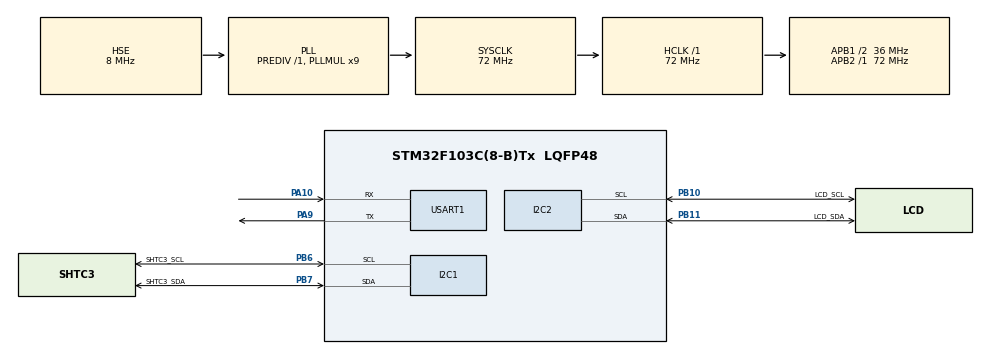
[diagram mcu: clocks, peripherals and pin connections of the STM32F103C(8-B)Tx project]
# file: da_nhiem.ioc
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FREERTOS.BinarySemaphores01=bin_sem,Dynamic,NULL,Available
FREERTOS.Tasks01=measure,8,128,measure_task,Default,NULL,Dynamic,NULL,NULL;write_clcd,8,256,write_clcd_task,Default,NULL,Dynamic,NULL,NULL;send_uart,8,256,send_uart_task,Default,NULL,Dynamic,NULL,NULL
Mcu.Family=STM32F1
Mcu.Name=STM32F103C(8-B)Tx
Mcu.Package=LQFP48
NVIC.PriorityGroup=NVIC_PRIORITYGROUP_4
NVIC.TIM1_UP_IRQn=true\:15\:0\:false\:false\:true\:false\:false\:true\:true
NVIC.TimeBase=TIM1_UP_IRQn
NVIC.TimeBaseIP=TIM1
NVIC.USART1_IRQn=true\:5\:0\:false\:false\:true\:true\:true\:true\:true
PA10.Mode=Asynchronous
PA10.Signal=USART1_RX
PA13.Mode=Serial_Wire
PA13.Signal=SYS_JTMS-SWDIO
PA14.Mode=Serial_Wire
PA14.Signal=SYS_JTCK-SWCLK
PA9.Mode=Asynchronous
PA9.Signal=USART1_TX
PB10.GPIO_Label=LCD_SCL
PB10.Mode=I2C
PB10.Signal=I2C2_SCL
PB11.GPIO_Label=LCD_SDA
PB11.Mode=I2C
PB11.Signal=I2C2_SDA
PB6.GPIO_Label=SHTC3_SCL
PB6.Mode=I2C
PB6.Signal=I2C1_SCL
PB7.GPIO_Label=SHTC3_SDA
PB7.Mode=I2C
PB7.Signal=I2C1_SDA
PD0-OSC_IN.Mode=HSE-External-Oscillator
PD0-OSC_IN.Signal=RCC_OSC_IN
PD1-OSC_OUT.Mode=HSE-External-Oscillator
PD1-OSC_OUT.Signal=RCC_OSC_OUT
ProjectManager.HeapSize=0x200
ProjectManager.StackSize=0x400
ProjectManager.TargetToolchain=STM32CubeIDE
RCC.AHBFreq_Value=72000000
RCC.APB1CLKDivider=RCC_HCLK_DIV2
RCC.APB1Freq_Value=36000000
RCC.APB1TimFreq_Value=72000000
RCC.APB2Freq_Value=72000000
RCC.APB2TimFreq_Value=72000000
RCC.HCLKFreq_Value=72000000
RCC.PLLMUL=RCC_PLL_MUL9
RCC.PLLSourceVirtual=RCC_PLLSOURCE_HSE
RCC.SYSCLKFreq_VALUE=72000000
RCC.SYSCLKSource=RCC_SYSCLKSOURCE_PLLCLK
RCC.USBFreq_Value=72000000
USART1.VirtualMode=VM_ASYNC
VP_FREERTOS_VS_CMSIS_V2.Mode=CMSIS_V2
VP_SYS_VS_tim1.Mode=TIM1
board=custom

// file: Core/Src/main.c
/* USER CODE BEGIN Header */
/**
  ******************************************************************************
  * @file           : main.c
  * @brief          : Main program body
  ******************************************************************************
  * @attention
  *
  * Copyright (c) 2025 STMicroelectronics.
  * All rights reserved.
  *
  * This software is licensed under terms that can be found in the LICENSE file
  * in the root directory of this software component.
  * If no LICENSE file comes with this software, it is provided AS-IS.
  *
  ******************************************************************************
  */
/* USER CODE END Header */
#include "main.h"//round robin
#include "cmsis_os.h"

/* USER CODE BEGIN Includes */
#include "string.h"
#include "stdio.h"
#include "CLCD_I2C.h"
/* USER CODE END Includes */

/* USER CODE BEGIN PTD */
typedef enum
{
	DISPLAY_TEMP,
	DISPLAY_HUMID,
	DISPLAY_ALL
} DisplayMode_t;
/* USER CODE END PTD */

/* USER CODE BEGIN PD */
volatile DisplayMode_t DisplayMode = DISPLAY_ALL;
/* USER CODE END PD */

I2C_HandleTypeDef hi2c1;
I2C_HandleTypeDef hi2c2;

UART_HandleTypeDef huart1;

/* Definitions for measure */
osThreadId_t measureHandle;
const osThreadAttr_t measure_attributes = {
  .name = "measure",
  .stack_size = 128 * 4,
  .priority = (osPriority_t) osPriorityLow,
};
/* Definitions for write_clcd */
osThreadId_t write_clcdHandle;
const osThreadAttr_t write_clcd_attributes = {
  .name = "write_clcd",
  .stack_size = 256 * 4,
  .priority = (osPriority_t) osPriorityLow,
};
/* Definitions for send_uart */
osThreadId_t send_uartHandle;
const osThreadAttr_t send_uart_attributes = {
  .name = "send_uart",
  .stack_size = 256 * 4,
  .priority = (osPriority_t) osPriorityLow,
};
/* Definitions for bin_sem */
osSemaphoreId_t bin_semHandle;
const osSemaphoreAttr_t bin_sem_attributes = {
  .name = "bin_sem"
};
/* USER CODE BEGIN PV */
int a,b,c;
uint8_t rxData[5];
float temperature = 0.0f;
float humidity = 0.0f;
CLCD_I2C_Name LCD1;

#define SHTC3_ADDRESS (0x70<<1)
uint8_t rev_buffer[6];
uint8_t wakeup_cmd[2] = {0x35, 0x17};
uint8_t measure_cmd[2] = {0x7C, 0xA2};
uint8_t sleep_cmd[2] = {0xB0, 0x98};

uint32_t start_time_SHTC3, end_time_SHTC3, elapsed_time_SHTC3;
uint32_t start_time_CLCD, end_time_CLCD, elapsed_time_CLCD;
uint32_t start_time_UART, end_time_UART, elapsed_time_UART;
/* USER CODE END PV */

void SystemClock_Config(void);
static void MX_GPIO_Init(void);
static void MX_I2C1_Init(void);
static void MX_I2C2_Init(void);
static void MX_USART1_UART_Init(void);
void measure_task(void *argument);
void write_clcd_task(void *argument);
void send_uart_task(void *argument);

/* USER CODE BEGIN 0 */
__weak void HAL_UART_RxCpltCallback(UART_HandleTypeDef *huart)
{
  /* Prevent unused argument(s) compilation warning */
  UNUSED(huart);
  if(huart->Instance == USART1){
	 // rxData[sizeof(rxData) - 1] = '\0';
	if ((rxData[0] == 't') && (rxData[1] == 'e') && (rxData[2] == 'm') && (rxData[3] == 'p'))
	{
		DisplayMode = DISPLAY_TEMP;
		printf("Change Display Mode to DISPLAY_TEMP\r\n\n");
		//memset(rxData, 0, sizeof(rxData));
	}
	else if ((rxData[0] == 'h') && (rxData[1] == 'u') && (rxData[2] == 'm') && (rxData[3] == 'i'))
	{
		DisplayMode = DISPLAY_HUMID;
		printf("Change Display Mode to DISPLAY_HUMI\r\n\n");
		//memset(rxData, 0, sizeof(rxData));
	}
	else if ((rxData[0] == 'b') && (rxData[1] == 'o') && (rxData[2] == 't') && (rxData[3] == 'h'))
	{
		DisplayMode = DISPLAY_ALL;
		printf("Change Display Mode to DISPLAY_ALL\r\n\n");
		//memset(rxData, 0, sizeof(rxData));
	}
	else
	{
		printf("Error Command Syntax\r\n\n");
	}
	HAL_UART_Receive_IT(&huart1, rxData, sizeof(rxData) - 1);
  }

  /* NOTE: This function should not be modified, when the callback is needed,
           the HAL_UART_RxCpltCallback could be implemented in the user file
   */
}

/* USER CODE END 0 */

int main(void)
{

  /* MCU Configuration--------------------------------------------------------*/

  /* Reset of all peripherals, Initializes the Flash interface and the Systick. */
  HAL_Init();

  /* Configure the system clock */
  SystemClock_Config();

  /* Initialize all configured peripherals */
  MX_GPIO_Init();
  MX_I2C1_Init();
  MX_I2C2_Init();
  MX_USART1_UART_Init();
  /* USER CODE BEGIN 2 */
  CLCD_I2C_Init(&LCD1, &hi2c2, 0X4e, 20, 4);
  CLCD_I2C_SetCursor(&LCD1,0,0);
  CLCD_I2C_WriteString(&LCD1,"Start");
  HAL_UART_Receive_IT(&huart1, rxData, sizeof(rxData) - 1);
  /* USER CODE END 2 */

  /* Init scheduler */
  osKernelInitialize();

  /* Create the semaphores(s) */
  /* creation of bin_sem */
  bin_semHandle = osSemaphoreNew(1, 1, &bin_sem_attributes);

  /* Create the thread(s) */
  /* creation of measure */
  measureHandle = osThreadNew(measure_task, NULL, &measure_attributes);

  /* creation of write_clcd */
  write_clcdHandle = osThreadNew(write_clcd_task, NULL, &write_clcd_attributes);

  /* creation of send_uart */
  send_uartHandle = osThreadNew(send_uart_task, NULL, &send_uart_attributes);

  /* Start scheduler */
  osKernelStart();

  /* We should never get here as control is now taken by the scheduler */

  /* Infinite loop */
  while (1)
  {

  }
}

void SystemClock_Config(void)
{
  RCC_OscInitTypeDef RCC_OscInitStruct = {0};
  RCC_ClkInitTypeDef RCC_ClkInitStruct = {0};

  /** Initializes the RCC Oscillators according to the specified parameters
  * in the RCC_OscInitTypeDef structure.
  */
  RCC_OscInitStruct.OscillatorType = RCC_OSCILLATORTYPE_HSE;
  RCC_OscInitStruct.HSEState = RCC_HSE_ON;
  RCC_OscInitStruct.HSEPredivValue = RCC_HSE_PREDIV_DIV1;
  RCC_OscInitStruct.HSIState = RCC_HSI_ON;
  RCC_OscInitStruct.PLL.PLLState = RCC_PLL_ON;
  RCC_OscInitStruct.PLL.PLLSource = RCC_PLLSOURCE_HSE;
  RCC_OscInitStruct.PLL.PLLMUL = RCC_PLL_MUL9;
  if (HAL_RCC_OscConfig(&RCC_OscInitStruct) != HAL_OK)
  {
    Error_Handler();
  }

  /** Initializes the CPU, AHB and APB buses clocks
  */
  RCC_ClkInitStruct.ClockType = RCC_CLOCKTYPE_HCLK|RCC_CLOCKTYPE_SYSCLK
                              |RCC_CLOCKTYPE_PCLK1|RCC_CLOCKTYPE_PCLK2;
  RCC_ClkInitStruct.SYSCLKSource = RCC_SYSCLKSOURCE_PLLCLK;
  RCC_ClkInitStruct.AHBCLKDivider = RCC_SYSCLK_DIV1;
  RCC_ClkInitStruct.APB1CLKDivider = RCC_HCLK_DIV2;
  RCC_ClkInitStruct.APB2CLKDivider = RCC_HCLK_DIV1;

  if (HAL_RCC_ClockConfig(&RCC_ClkInitStruct, FLASH_LATENCY_2) != HAL_OK)
  {
    Error_Handler();
  }
}

static void MX_I2C1_Init(void)
{

  hi2c1.Instance = I2C1;
  hi2c1.Init.ClockSpeed = 100000;
  hi2c1.Init.DutyCycle = I2C_DUTYCYCLE_2;
  hi2c1.Init.OwnAddress1 = 0;
  hi2c1.Init.AddressingMode = I2C_ADDRESSINGMODE_7BIT;
  hi2c1.Init.DualAddressMode = I2C_DUALADDRESS_DISABLE;
  hi2c1.Init.OwnAddress2 = 0;
  hi2c1.Init.GeneralCallMode = I2C_GENERALCALL_DISABLE;
  hi2c1.Init.NoStretchMode = I2C_NOSTRETCH_DISABLE;
  if (HAL_I2C_Init(&hi2c1) != HAL_OK)
  {
    Error_Handler();
  }

}

static void MX_I2C2_Init(void)
{

  hi2c2.Instance = I2C2;
  hi2c2.Init.ClockSpeed = 100000;
  hi2c2.Init.DutyCycle = I2C_DUTYCYCLE_2;
  hi2c2.Init.OwnAddress1 = 0;
  hi2c2.Init.AddressingMode = I2C_ADDRESSINGMODE_7BIT;
  hi2c2.Init.DualAddressMode = I2C_DUALADDRESS_DISABLE;
  hi2c2.Init.OwnAddress2 = 0;
  hi2c2.Init.GeneralCallMode = I2C_GENERALCALL_DISABLE;
  hi2c2.Init.NoStretchMode = I2C_NOSTRETCH_DISABLE;
  if (HAL_I2C_Init(&hi2c2) != HAL_OK)
  {
    Error_Handler();
  }

}

static void MX_USART1_UART_Init(void)
{

  huart1.Instance = USART1;
  huart1.Init.BaudRate = 115200;
  huart1.Init.WordLength = UART_WORDLENGTH_8B;
  huart1.Init.StopBits = UART_STOPBITS_1;
  huart1.Init.Parity = UART_PARITY_NONE;
  huart1.Init.Mode = UART_MODE_TX_RX;
  huart1.Init.HwFlowCtl = UART_HWCONTROL_NONE;
  huart1.Init.OverSampling = UART_OVERSAMPLING_16;
  if (HAL_UART_Init(&huart1) != HAL_OK)
  {
    Error_Handler();
  }

}

static void MX_GPIO_Init(void)
{

  /* GPIO Ports Clock Enable */
  __HAL_RCC_GPIOD_CLK_ENABLE();
  __HAL_RCC_GPIOB_CLK_ENABLE();
  __HAL_RCC_GPIOA_CLK_ENABLE();

}

void measure_task(void *argument)
{
  /* USER CODE BEGIN 5 */
	/* Infinite loop */
	TickType_t previousWakeTime = xTaskGetTickCount();
  for(;;)
  {
	a++;

	start_time_SHTC3 = HAL_GetTick();
	uint16_t hex_ther;
	uint16_t hex_moisture;
	HAL_I2C_Master_Transmit(&hi2c1,SHTC3_ADDRESS, wakeup_cmd ,2, 500);
	HAL_Delay(1);
	HAL_I2C_Master_Transmit(&hi2c1,SHTC3_ADDRESS, measure_cmd ,2, 500);
	HAL_Delay(15);
	HAL_I2C_Master_Receive(&hi2c1,SHTC3_ADDRESS, rev_buffer ,6,500);
	HAL_I2C_Master_Transmit(&hi2c1,SHTC3_ADDRESS, sleep_cmd ,2, 500);
	hex_ther = (rev_buffer[0]<<8)|rev_buffer[1];
	hex_moisture = (rev_buffer[3]<<8)|rev_buffer[4];
	if (osSemaphoreAcquire(bin_semHandle, osWaitForever) == osOK) {
		temperature = -45.0f + 175.0f * (float)hex_ther / 65535.0f;
		humidity = 100.0f * (float)hex_moisture / 65535.0f;
		// Release Semaphore
		osSemaphoreRelease(bin_semHandle);
	}
	end_time_SHTC3 = HAL_GetTick();
	elapsed_time_SHTC3 = -(start_time_SHTC3 - end_time_SHTC3);
	vTaskDelayUntil(&previousWakeTime, pdMS_TO_TICKS(250));
	//osDelay(250);
  }
  /* USER CODE END 5 */
}

void write_clcd_task(void *argument)
{
  /* USER CODE BEGIN write_clcd_task */
  /* Infinite loop */
	TickType_t previousWakeTime = xTaskGetTickCount();
  for(;;)
  {
	c++;

	start_time_CLCD = HAL_GetTick();
	char lcd_line1[17];
	char lcd_line2[17];
	if (osSemaphoreAcquire(bin_semHandle, osWaitForever) == osOK) {
		switch(DisplayMode){
			case DISPLAY_ALL:
				sprintf(lcd_line2, "Humidity: %.2f%%", humidity);
				sprintf(lcd_line1, "Temp: %.2f C   ",temperature);
				break;
			case DISPLAY_HUMID:
				sprintf(lcd_line1, "Humidity: %.2f%%", humidity);
				sprintf(lcd_line2, "                ");
				break;
			case DISPLAY_TEMP:
				sprintf(lcd_line1, "Temp: %.2f C   ",temperature);
				sprintf(lcd_line2, "                ");
				break;
		}
		// Release Semaphore
		osSemaphoreRelease(bin_semHandle);
	}
	CLCD_I2C_SetCursor(&LCD1,0,0);
	CLCD_I2C_WriteString(&LCD1,lcd_line1);
	CLCD_I2C_SetCursor(&LCD1,0,1);
	CLCD_I2C_WriteString(&LCD1,lcd_line2);
	end_time_CLCD = HAL_GetTick();
	elapsed_time_CLCD = -(start_time_CLCD - end_time_CLCD);
	vTaskDelayUntil(&previousWakeTime, pdMS_TO_TICKS(5000));
	//osDelay(5000);
  }
  /* USER CODE END write_clcd_task */
}

void send_uart_task(void *argument)
{
  /* USER CODE BEGIN send_uart_task */
  /* Infinite loop */
	TickType_t previousWakeTime = xTaskGetTickCount();
  for(;;)
  {
	b++;

	start_time_UART = HAL_GetTick();
	if (osSemaphoreAcquire(bin_semHandle, osWaitForever) == osOK) {
	char data[64];
		sprintf(data, "Temperature: %.2f C, Humidity: %.2f%%\r\n", temperature, humidity);
		HAL_UART_Transmit(&huart1, (uint8_t*)data, strlen(data), 1000);

		// Release Semaphore
		osSemaphoreRelease(bin_semHandle);
	}
	end_time_UART = HAL_GetTick();
	elapsed_time_UART = -(start_time_UART - end_time_UART);
	vTaskDelayUntil(&previousWakeTime, pdMS_TO_TICKS(1000));
	//osDelay(1000);
	}
  /* USER CODE END send_uart_task */
}

void HAL_TIM_PeriodElapsedCallback(TIM_HandleTypeDef *htim)
{
  if (htim->Instance == TIM1) {
    HAL_IncTick();
  }
}

void Error_Handler(void)
{
  __disable_irq();
  while (1)
  {
  }
}
